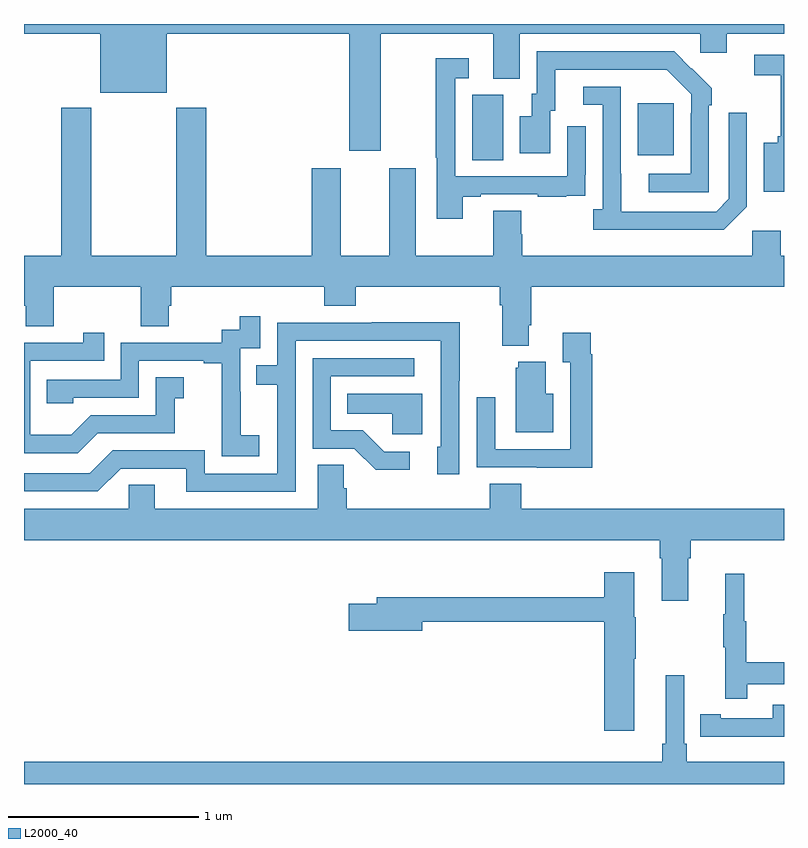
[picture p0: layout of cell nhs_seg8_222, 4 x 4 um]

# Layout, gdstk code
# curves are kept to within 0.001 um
import gdstk
lib = gdstk.Library(unit=1e-6, precision=1e-09)
def R(c, l, rs):  # rectangles x0, y0, x1, y1
    for r in rs: c.add(gdstk.rectangle(r[:2], r[2:], *l))
def P(c, l, *ps):  # polygons
    for p in ps: c.add(gdstk.Polygon(p, *l))
L2000_40 = (2000, 40)

nhs_seg8_222 = lib.new_cell('nhs_seg8_222')
R(nhs_seg8_222, L2000_40, [(127.358,1101.184,127.522,1101.528), (128.231,1101.209,128.419,1101.484)])
P(nhs_seg8_222, L2000_40, [(126.877,1101.848),(127.469,1101.848),(127.469,1101.613),(127.609,1101.613),(127.609,1101.848),(128.559,1101.848),(128.559,1101.75),(128.698,1101.75),(128.698,1101.848),(129,1101.848),(129,1101.9),(125,1101.9),(125,1101.848),(125.402,1101.848),(125.402,1101.539),(125.752,1101.539),(125.752,1101.848),(126.713,1101.848),(126.713,1101.234),(126.877,1101.234)],
  [(128.604,1101.473),(128.619,1101.473),(128.619,1101.561),(128.422,1101.756),(127.698,1101.756),(127.698,1101.534),(127.673,1101.534),(127.673,1101.415),(127.61,1101.415),(127.61,1101.219),(127.771,1101.219),(127.771,1101.444),(127.795,1101.444),(127.795,1101.66),(128.383,1101.66),(128.511,1101.531),(128.511,1101.431),(128.508,1101.431),(128.508,1101.111),(128.289,1101.111),(128.289,1101.015),(128.604,1101.015)],
  [(129,1101.738),(128.844,1101.738),(128.844,1101.63),(128.983,1101.63),(128.983,1101.309),(128.966,1101.309),(128.966,1101.274),(128.894,1101.274),(128.894,1101.017),(129,1101.017)],
  [(127.309,1100.991),(127.405,1100.991),(127.405,1101.003),(127.705,1101.003),(127.705,1100.991),(127.853,1100.991),(127.853,1100.997),(127.955,1100.997),(127.955,1101.106),(127.956,1101.106),(127.956,1101.361),(127.86,1101.361),(127.86,1101.099),(127.269,1101.099),(127.269,1101.615),(127.342,1101.615),(127.342,1101.721),(127.168,1101.721),(127.168,1101.196),(127.173,1101.196),(127.173,1100.874),(127.309,1100.874)],
  [(128.805,1100.937),(128.805,1101.433),(128.709,1101.433),(128.709,1100.979),(128.643,1100.913),(128.143,1100.913),(128.142,1101.57),(127.944,1101.57),(127.944,1101.474),(128.046,1101.474),(128.046,1100.926),(127.995,1100.926),(127.995,1100.816),(128.684,1100.816)],
  [(127.657,1100.314),(127.67,1100.314),(127.67,1100.516),(129,1100.516),(129,1100.68),(128.983,1100.68),(128.983,1100.812),(128.832,1100.812),(128.832,1100.68),(127.622,1100.68),(127.622,1100.793),(127.617,1100.793),(127.617,1100.918),(127.469,1100.918),(127.469,1100.68),(127.063,1100.68),(127.063,1101.142),(126.923,1101.142),(126.923,1100.68),(126.667,1100.68),(126.667,1101.142),(126.515,1101.142),(126.515,1100.68),(125.96,1100.68),(125.96,1101.46),(125.8,1101.46),(125.8,1100.68),(125.355,1100.68),(125.355,1101.46),(125.195,1101.46),(125.195,1100.68),(125,1100.68),(125,1100.418),(125.009,1100.418),(125.009,1100.308),(125.157,1100.308),(125.157,1100.516),(125.614,1100.516),(125.614,1100.308),(125.761,1100.308),(125.761,1100.418),(125.774,1100.418),(125.774,1100.516),(126.581,1100.516),(126.581,1100.417),(126.746,1100.417),(126.746,1100.516),(127.505,1100.516),(127.505,1100.42),(127.517,1100.42),(127.517,1100.207),(127.657,1100.207)],
  [(126.238,1099.735),(126.14,1099.735),(126.14,1099.964),(126.138,1099.964),(126.138,1100.193),(126.243,1100.193),(126.243,1100.362),(126.135,1100.362),(126.135,1100.292),(126.042,1100.292),(126.042,1100.223),(125.508,1100.223),(125.508,1100.028),(125.119,1100.028),(125.119,1099.905),(125.259,1099.905),(125.259,1099.932),(125.604,1099.932),(125.604,1100.127),(125.945,1100.127),(125.945,1100.115),(126.041,1100.115),(126.041,1099.831),(126.04,1099.831),(126.04,1099.625),(126.238,1099.625)],
  [(126.429,1100.232),(127.193,1100.232),(127.194,1099.674),(127.175,1099.674),(127.175,1099.53),(127.29,1099.53),(127.29,1100.023),(127.293,1100.023),(127.293,1100.33),(126.829,1100.33),(126.829,1100.328),(126.333,1100.328),(126.333,1100.103),(126.223,1100.103),(126.223,1100.002),(126.333,1100.002),(126.333,1099.533),(125.952,1099.533),(125.952,1099.656),(125.466,1099.656),(125.346,1099.536),(125,1099.536),(125,1099.44),(125.388,1099.44),(125.508,1099.56),(125.855,1099.56),(125.855,1099.437),(126.429,1099.437)],
  [(127.991,1100.162),(127.984,1100.162),(127.984,1100.275),(127.835,1100.275),(127.835,1100.119),(127.875,1100.119),(127.875,1099.662),(127.479,1099.662),(127.479,1099.936),(127.383,1099.936),(127.383,1099.566),(127.699,1099.566),(127.699,1099.565),(127.991,1099.565)],
  [(125.389,1099.746),(125.793,1099.746),(125.793,1099.931),(125.842,1099.931),(125.842,1100.041),(125.694,1100.041),(125.694,1099.842),(125.352,1099.842),(125.248,1099.738),(125.034,1099.738),(125.034,1100.127),(125.423,1100.127),(125.423,1100.275),(125.312,1100.275),(125.312,1100.223),(125,1100.223),(125,1099.641),(125.284,1099.641)],
  [(127.03,1099.65),(126.895,1099.65),(126.784,1099.761),(126.615,1099.761),(126.615,1100.046),(127.054,1100.046),(127.054,1100.142),(126.519,1100.142),(126.519,1099.665),(126.738,1099.665),(126.851,1099.553),(127.03,1099.553)],
  [(127.786,1099.954),(127.747,1099.954),(127.747,1100.122),(127.601,1100.122),(127.601,1100.091),(127.589,1100.091),(127.589,1099.751),(127.786,1099.751)],
  [(127.096,1099.954),(126.7,1099.954),(126.7,1099.85),(126.939,1099.85),(126.939,1099.742),(127.096,1099.742)],
  [(128.497,1099.088),(128.51,1099.088),(128.51,1099.184),(129,1099.184),(129,1099.348),(127.616,1099.348),(127.616,1099.481),(127.451,1099.481),(127.451,1099.348),(126.698,1099.348),(126.698,1099.457),(126.684,1099.457),(126.684,1099.58),(126.545,1099.58),(126.545,1099.348),(125.689,1099.348),(125.689,1099.475),(125.55,1099.475),(125.55,1099.348),(125,1099.348),(125,1099.184),(128.345,1099.184),(128.345,1099.088),(128.357,1099.088),(128.357,1098.864),(128.497,1098.864)],
  [(128.212,1098.559),(128.22,1098.559),(128.22,1098.777),(128.212,1098.777),(128.212,1099.015),(128.054,1099.015),(128.054,1098.883),(126.857,1098.883),(126.857,1098.849),(126.708,1098.849),(126.708,1098.707),(127.096,1098.707),(127.096,1098.754),(128.054,1098.754),(128.054,1098.18),(128.212,1098.18)],
  [(128.807,1098.426),(129,1098.426),(129,1098.542),(128.8,1098.542),(128.8,1098.756),(128.792,1098.756),(128.792,1099.006),(128.69,1099.006),(128.69,1098.793),(128.679,1098.793),(128.679,1098.619),(128.69,1098.619),(128.69,1098.348),(128.807,1098.348)],
  [(129,1098.016),(128.489,1098.016),(128.489,1098.112),(128.475,1098.112),(128.475,1098.472),(128.378,1098.472),(128.378,1098.112),(128.359,1098.112),(128.359,1098.016),(125,1098.016),(125,1097.9),(129,1097.9)],
  [(129,1098.318),(128.94,1098.318),(128.94,1098.246),(128.668,1098.246),(128.668,1098.266),(128.56,1098.266),(128.56,1098.15),(128.668,1098.15),(128.668,1098.149),(129,1098.149)])

lib.write_gds('nhs_seg8_222.gds')
